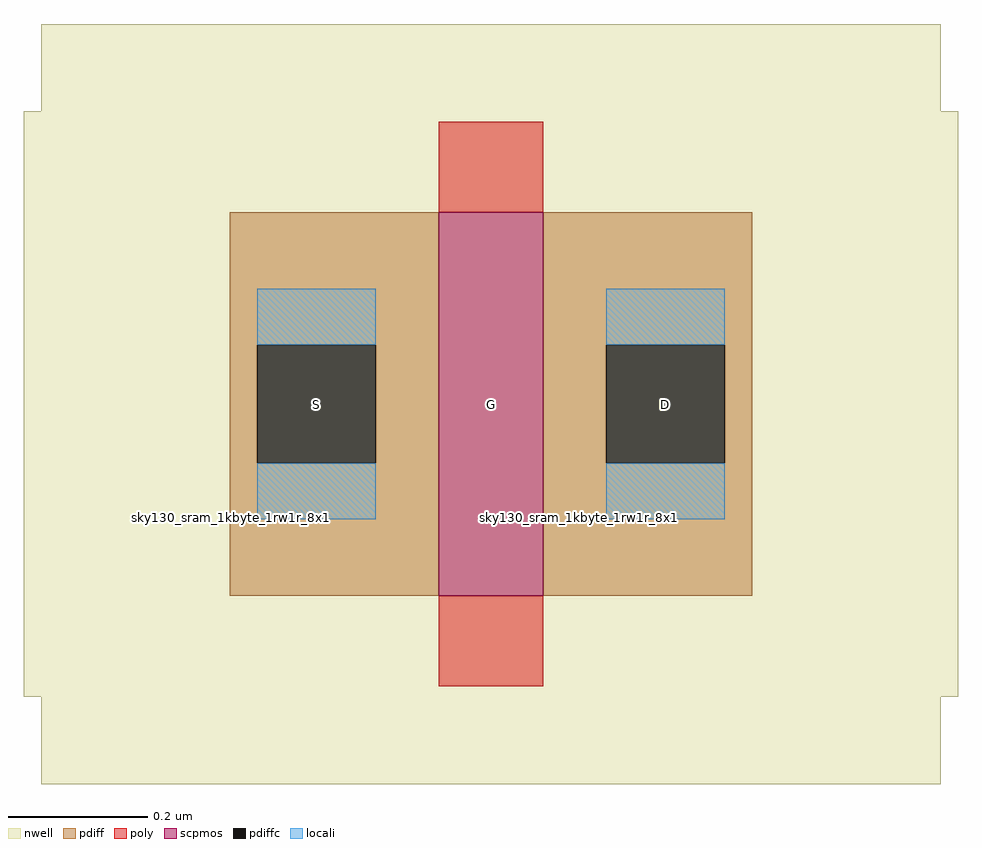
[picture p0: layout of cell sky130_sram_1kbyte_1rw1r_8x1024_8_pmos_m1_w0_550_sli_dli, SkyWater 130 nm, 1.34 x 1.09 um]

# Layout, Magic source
magic
tech sky130A
magscale 1 2
<< nwell >>
rect -54 139 204 164
rect -59 -29 209 139
rect -54 -54 204 -29
<< scpmos >>
rect 60 0 90 110
<< pdiff >>
rect 0 72 60 110
rect 0 38 8 72
rect 42 38 60 72
rect 0 0 60 38
rect 90 72 150 110
rect 90 38 108 72
rect 142 38 150 72
rect 90 0 150 38
<< pdiffc >>
rect 8 38 42 72
rect 108 38 142 72
<< poly >>
rect 60 110 90 136
rect 60 -26 90 0
<< locali >>
rect 8 72 42 88
rect 8 22 42 38
rect 108 72 142 88
rect 108 22 142 38
use sky130_sram_1kbyte_1rw1r_8x1024_8_contact_12  sky130_sram_1kbyte_1rw1r_8x1024_8_contact_12_0
transform 1 0 100 0 1 22
box 0 0 1 1
use sky130_sram_1kbyte_1rw1r_8x1024_8_contact_12  sky130_sram_1kbyte_1rw1r_8x1024_8_contact_12_1
transform 1 0 0 0 1 22
box 0 0 1 1
<< labels >>
rlabel locali s 25 55 25 55 4 S
port 1 nsew
rlabel locali s 125 55 125 55 4 D
port 2 nsew
rlabel poly s 75 55 75 55 4 G
port 3 nsew
<< properties >>
string FIXED_BBOX -54 -54 204 -29
string GDS_FILE $PDKPATH/libs.ref/sky130_sram_macros/gds/sky130_sram_1kbyte_1rw1r_8x1024_8.gds
string GDS_END 58340
string GDS_START 57480
<< end >>
